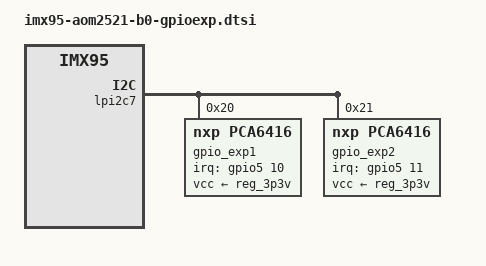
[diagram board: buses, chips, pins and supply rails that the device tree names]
&lpi2c7 {
	gpio_exp1: pca6416@20 {
		compatible = "nxp,pca6416";
		#gpio-cells = <2>;
		gpio-controller;
		reg = <0x20>;
		interrupt-controller;
		#interrupt-cells = <2>;
		interrupt-parent = <&gpio5>;
		interrupts = <10 IRQ_TYPE_LEVEL_LOW>;
		pinctrl-names = "default";
		pinctrl-0 = <&pinctrl_gpioexp1>;
		vcc-supply = <&reg_3p3v>;

		LTE_PWR_EN {
			gpio-hog;
			gpios = <0 GPIO_ACTIVE_HIGH>;
			output-high;
			line-name = "LTE_PWR_EN";
		};
	};

	gpio_exp2: pca6416@21 {
		compatible = "nxp,pca6416";
		#gpio-cells = <2>;
		gpio-controller;
		reg = <0x21>;
		interrupt-controller;
		#interrupt-cells = <2>;
		interrupt-parent = <&gpio5>;
		interrupts = <11 IRQ_TYPE_LEVEL_LOW>;
		pinctrl-names = "default";
		pinctrl-0 = <&pinctrl_gpioexp2>;
		vcc-supply = <&reg_3p3v>;
	};
};

&scmi_iomuxc {
	pinctrl_gpioexp1: gpioexp1grp {
		fsl,pins = <
			IMX95_PAD_XSPI1_SS0_B__GPIO5_IO_BIT10		0x31e
		>;
	};

	pinctrl_gpioexp2: gpioexp2grp {
		fsl,pins = <
			IMX95_PAD_XSPI1_SS1_B__GPIO5_IO_BIT11		0x31e
		>;
	};
};
